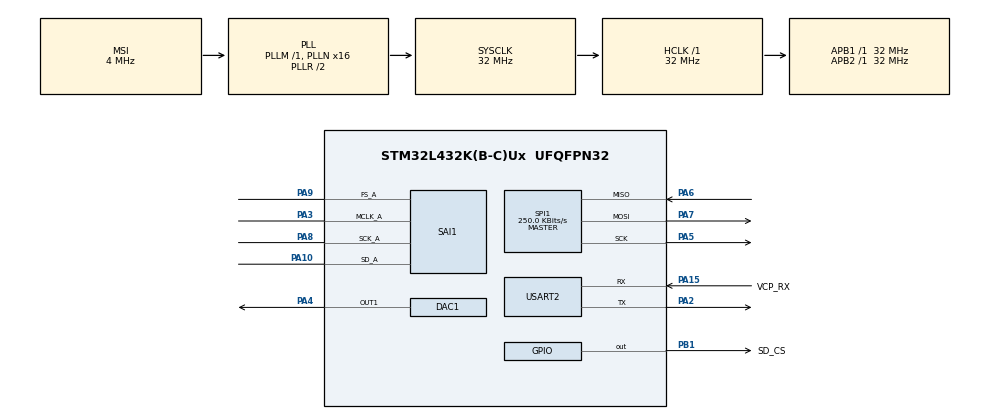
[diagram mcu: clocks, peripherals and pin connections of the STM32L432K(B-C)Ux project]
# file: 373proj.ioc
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DAC1.DAC_Trigger-DAC_OUT1=DAC_TRIGGER_T6_TRGO
Dma.DAC_CH1.1.Direction=DMA_MEMORY_TO_PERIPH
Dma.DAC_CH1.1.Instance=DMA1_Channel3
Dma.DAC_CH1.1.MemDataAlignment=DMA_MDATAALIGN_HALFWORD
Dma.DAC_CH1.1.MemInc=DMA_MINC_ENABLE
Dma.DAC_CH1.1.Mode=DMA_CIRCULAR
Dma.DAC_CH1.1.PeriphDataAlignment=DMA_PDATAALIGN_HALFWORD
Dma.DAC_CH1.1.PeriphInc=DMA_PINC_DISABLE
Dma.DAC_CH1.1.Priority=DMA_PRIORITY_LOW
Dma.Request0=SAI1_A
Dma.Request1=DAC_CH1
Dma.SAI1_A.0.Direction=DMA_PERIPH_TO_MEMORY
Dma.SAI1_A.0.Instance=DMA2_Channel1
Dma.SAI1_A.0.MemDataAlignment=DMA_MDATAALIGN_HALFWORD
Dma.SAI1_A.0.MemInc=DMA_MINC_ENABLE
Dma.SAI1_A.0.Mode=DMA_NORMAL
Dma.SAI1_A.0.PeriphDataAlignment=DMA_PDATAALIGN_HALFWORD
Dma.SAI1_A.0.PeriphInc=DMA_PINC_DISABLE
Dma.SAI1_A.0.Priority=DMA_PRIORITY_LOW
Mcu.Family=STM32L4
Mcu.Name=STM32L432K(B-C)Ux
Mcu.Package=UFQFPN32
NVIC.DMA1_Channel3_IRQn=true\:0\:0\:false\:false\:true\:false\:true\:true
NVIC.DMA2_Channel1_IRQn=true\:0\:0\:false\:false\:true\:false\:true\:true
NVIC.PriorityGroup=NVIC_PRIORITYGROUP_4
NVIC.TIM6_DAC_IRQn=true\:0\:0\:false\:false\:true\:true\:true\:true
PA0.GPIO_Label=MCO [High speed clock in]
PA0.Signal=RCC_CK_IN
PA10.Mode=SAI_A_MasterWithClock
PA10.Signal=SAI1_SD_A
PA13\ (JTMS-SWDIO).GPIO_Label=SWDIO
PA13\ (JTMS-SWDIO).Signal=SYS_JTMS-SWDIO
PA14\ (JTCK-SWCLK).GPIO_Label=SWCLK
PA14\ (JTCK-SWCLK).Signal=SYS_JTCK-SWCLK
PA15\ (JTDI).GPIO_Label=VCP_RX
PA15\ (JTDI).Mode=Asynchronous
PA15\ (JTDI).Signal=USART2_RX
PA2.Mode=Asynchronous
PA2.Signal=USART2_TX
PA3.Mode=SAI_A_MasterWithClock
PA3.Signal=SAI1_MCLK_A
PA4.Signal=COMP_DAC11_group
PA5.GPIO_PuPd=GPIO_PULLUP
PA5.Mode=Full_Duplex_Master
PA5.Signal=SPI1_SCK
PA6.GPIO_PuPd=GPIO_PULLUP
PA6.Mode=Full_Duplex_Master
PA6.Signal=SPI1_MISO
PA7.GPIO_PuPd=GPIO_PULLUP
PA7.Mode=Full_Duplex_Master
PA7.Signal=SPI1_MOSI
PA8.Mode=SAI_A_MasterWithClock
PA8.Signal=SAI1_SCK_A
PA9.Mode=SAI_A_MasterWithClock
PA9.Signal=SAI1_FS_A
PB1.GPIO_Label=SD_CS
PB1.GPIO_PuPd=GPIO_PULLUP
PB1.PinState=GPIO_PIN_SET
PB1.Signal=GPIO_Output
PC14-OSC32_IN\ (PC14).Signal=RCC_OSC32_IN
PC15-OSC32_OUT\ (PC15).Signal=RCC_OSC32_OUT
ProjectManager.HeapSize=0x200
ProjectManager.StackSize=0x400
ProjectManager.TargetToolchain=STM32CubeIDE
RCC.ADCFreq_Value=32000000
RCC.AHBFreq_Value=32000000
RCC.APB1Freq_Value=32000000
RCC.APB1TimFreq_Value=32000000
RCC.APB2Freq_Value=32000000
RCC.APB2TimFreq_Value=32000000
RCC.CortexFreq_Value=32000000
RCC.HCLKFreq_Value=32000000
RCC.HSE_VALUE=8000000
RCC.HSI16_VALUE=16000000
RCC.HSI48_VALUE=48000000
RCC.HSI_VALUE=16000000
RCC.LSE_VALUE=32768
RCC.MSI_VALUE=4000000
RCC.PLLMUL=RCC_PLLMUL_4
RCC.PLLN=16
RCC.PLLSAI1N=16
RCC.SYSCLKFreq_VALUE=32000000
RCC.SYSCLKSource=RCC_SYSCLKSOURCE_PLLCLK
RCC.USBFreq_Value=32000000
RCC.VCOOutputFreq_Value=64000000
SAI1.AudioFrequency-SAI_A_MasterWithClock=SAI_AUDIO_FREQUENCY_16K
SAI1.AudioMode-SAI_A_MasterWithClock=SAI_MODEMASTER_RX
SAI1.ErrorAudioFreq-SAI_A_MasterWithClock=11.6 %
SAI1.InitProtocol-SAI_A_MasterWithClock=Enable
SAI1.Instance-SAI_A_MasterWithClock=SAI$Index_Block_A
SAI1.MClockEnable-SAI_A_MasterWithClock=SAI_MASTERCLOCK_ENABLE
SAI1.MonoStereoMode-SAI_A_MasterWithClock=SAI_MONOMODE
SAI1.RealAudioFreq-SAI_A_MasterWithClock=17.857 KHz
SAI1.VirtualMode-SAI_A_MasterWithClock=VM_MASTER
SAI1.VirtualProtocol-SAI_A_BASIC=VM_BASIC_PROTOCOL
SH.COMP_DAC11_group.0=DAC1_OUT1,DAC_OUT1
SPI1.BaudRatePrescaler=SPI_BAUDRATEPRESCALER_128
SPI1.CalculateBaudRate=250.0 KBits/s
SPI1.DataSize=SPI_DATASIZE_8BIT
SPI1.Direction=SPI_DIRECTION_2LINES
SPI1.Mode=SPI_MODE_MASTER
SPI1.VirtualType=VM_MASTER
TIM6.Period=1999
TIM6.TIM_MasterOutputTrigger=TIM_TRGO_UPDATE
USART2.VirtualMode-Asynchronous=VM_ASYNC
VP_FATFS_VS_Generic.Mode=User_defined
VP_SAI1_VP_$IpInstance_SAIA_SAI_BASIC.Mode=SAI_A_BASIC
VP_TIM6_VS_ClockSourceINT.Mode=Enable_Timer
board=NUCLEO-L432KC

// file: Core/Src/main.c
/* USER CODE BEGIN Header */
/**
  ******************************************************************************
  * @file           : main.c
  * @brief          : Main program body
  ******************************************************************************
  * @attention
  *
  * Copyright (c) 2026 STMicroelectronics.
  * All rights reserved.
  *
  * This software is licensed under terms that can be found in the LICENSE file
  * in the root directory of this software component.
  * If no LICENSE file comes with this software, it is provided AS-IS.
  *
  ******************************************************************************
  */
/* USER CODE END Header */
#include "main.h"
#include "fatfs.h"

/* USER CODE BEGIN Includes */
#include <stdio.h>
#include <string.h>
#include <stdarg.h>
/* USER CODE END Includes */

DAC_HandleTypeDef hdac1;
DMA_HandleTypeDef hdma_dac_ch1;

SAI_HandleTypeDef hsai_BlockA1;
DMA_HandleTypeDef hdma_sai1_a;

SPI_HandleTypeDef hspi1;

TIM_HandleTypeDef htim6;

UART_HandleTypeDef huart2;

/* USER CODE BEGIN PV */
void myprintf(const char *fmt, ...);

/* USER CODE END PV */

void SystemClock_Config(void);
static void MX_GPIO_Init(void);
static void MX_DMA_Init(void);
static void MX_SAI1_Init(void);
static void MX_DAC1_Init(void);
static void MX_TIM6_Init(void);
static void MX_SPI1_Init(void);
static void MX_USART2_UART_Init(void);

/* USER CODE BEGIN 0 */

void myprintf(const char *fmt, ...) {
  static char buffer[256];
  va_list args;
  va_start(args, fmt);
  vsnprintf(buffer, sizeof(buffer), fmt, args);
  va_end(args);

  int len = strlen(buffer);
  HAL_UART_Transmit(&huart2, (uint8_t*)buffer, len, -1);

}

#define BUF_SIZE 8000

uint16_t audio_buf[BUF_SIZE];
uint16_t dac_buf[BUF_SIZE];
int recording = 1;

void HAL_SAI_RxCpltCallback(SAI_HandleTypeDef* hsai)
{
    if(recording == 1)
    {
        recording = 0;
        HAL_SAI_DMAStop(hsai);

        for(int i = 0; i < BUF_SIZE; i++)
        {
            int16_t sample = (int16_t)audio_buf[i];
            dac_buf[i] = (uint16_t)((sample + 32768) >> 4);
        }

        HAL_DAC_Start_DMA(&hdac1, DAC_CHANNEL_1,
                          (uint32_t*)dac_buf, BUF_SIZE,
                          DAC_ALIGN_12B_R);
        HAL_TIM_Base_Start(&htim6);
    }
}
/* USER CODE END 0 */

int main(void)
{

  /* MCU Configuration--------------------------------------------------------*/

  /* Reset of all peripherals, Initializes the Flash interface and the Systick. */
  HAL_Init();

  /* Configure the system clock */
  SystemClock_Config();

  /* Initialize all configured peripherals */
  MX_GPIO_Init();
  MX_DMA_Init();
  MX_SAI1_Init();
  MX_DAC1_Init();
  MX_TIM6_Init();
  MX_FATFS_Init();
  MX_SPI1_Init();
  MX_USART2_UART_Init();
  /* USER CODE BEGIN 2 */
  // Create and write test.txt
  myprintf("###TESTING SD###\r\n");
  HAL_Delay(1000);

  FATFS FatFs;
  FIL fil;
  FRESULT fres;

  // Mount the SD card first!
  fres = f_mount(&FatFs, "", 1);
  if(fres != FR_OK) {
      myprintf("mount error (%i)\r\n", fres);
      while(1);
  }
  myprintf("Mounted!\r\n");

  fres = f_open(&fil, "test.txt", FA_WRITE | FA_CREATE_ALWAYS);
  if(fres == FR_OK) {
      myprintf("Created test.txt for writing\r\n");
  } else {
      myprintf("f_open write error (%i)\r\n", fres);
      while(1);
  }

  UINT bytesWrote;
  char writeData[] = "Hello World on the SD Cards!";
  fres = f_write(&fil, writeData, strlen(writeData), &bytesWrote);
  if(fres == FR_OK) {
      myprintf("Wrote %i bytes\r\n", bytesWrote);
  } else {
      myprintf("f_write error (%i)\r\n", fres);
  }
  f_close(&fil);

  // Now read it back
  fres = f_open(&fil, "test.txt", FA_READ);
  if(fres == FR_OK) {
      myprintf("Opened test.txt for reading\r\n");
  } else {
      myprintf("f_open read error (%i)\r\n", fres);
      while(1);
  }

  BYTE readBuf[30];
  TCHAR* rres = f_gets((TCHAR*)readBuf, 30, &fil);
  if(rres != 0) {
      myprintf("Read back: %s\r\n", readBuf);
  } else {
      myprintf("f_gets error\r\n");
  }
  f_close(&fil);
  HAL_SAI_Receive_DMA(&hsai_BlockA1, (uint8_t*)audio_buf, BUF_SIZE * 2);

  /* USER CODE END 2 */

  /* Infinite loop */
  while (1)
  {

  }
}

void SystemClock_Config(void)
{
  RCC_OscInitTypeDef RCC_OscInitStruct = {0};
  RCC_ClkInitTypeDef RCC_ClkInitStruct = {0};

  /** Configure the main internal regulator output voltage
  */
  if (HAL_PWREx_ControlVoltageScaling(PWR_REGULATOR_VOLTAGE_SCALE1) != HAL_OK)
  {
    Error_Handler();
  }

  /** Initializes the RCC Oscillators according to the specified parameters
  * in the RCC_OscInitTypeDef structure.
  */
  RCC_OscInitStruct.OscillatorType = RCC_OSCILLATORTYPE_MSI;
  RCC_OscInitStruct.MSIState = RCC_MSI_ON;
  RCC_OscInitStruct.MSICalibrationValue = 0;
  RCC_OscInitStruct.MSIClockRange = RCC_MSIRANGE_6;
  RCC_OscInitStruct.PLL.PLLState = RCC_PLL_ON;
  RCC_OscInitStruct.PLL.PLLSource = RCC_PLLSOURCE_MSI;
  RCC_OscInitStruct.PLL.PLLM = 1;
  RCC_OscInitStruct.PLL.PLLN = 16;
  RCC_OscInitStruct.PLL.PLLP = RCC_PLLP_DIV7;
  RCC_OscInitStruct.PLL.PLLQ = RCC_PLLQ_DIV2;
  RCC_OscInitStruct.PLL.PLLR = RCC_PLLR_DIV2;
  if (HAL_RCC_OscConfig(&RCC_OscInitStruct) != HAL_OK)
  {
    Error_Handler();
  }

  /** Initializes the CPU, AHB and APB buses clocks
  */
  RCC_ClkInitStruct.ClockType = RCC_CLOCKTYPE_HCLK|RCC_CLOCKTYPE_SYSCLK
                              |RCC_CLOCKTYPE_PCLK1|RCC_CLOCKTYPE_PCLK2;
  RCC_ClkInitStruct.SYSCLKSource = RCC_SYSCLKSOURCE_PLLCLK;
  RCC_ClkInitStruct.AHBCLKDivider = RCC_SYSCLK_DIV1;
  RCC_ClkInitStruct.APB1CLKDivider = RCC_HCLK_DIV1;
  RCC_ClkInitStruct.APB2CLKDivider = RCC_HCLK_DIV1;

  if (HAL_RCC_ClockConfig(&RCC_ClkInitStruct, FLASH_LATENCY_1) != HAL_OK)
  {
    Error_Handler();
  }
}

static void MX_DAC1_Init(void)
{

  DAC_ChannelConfTypeDef sConfig = {0};

  /** DAC Initialization
  */
  hdac1.Instance = DAC1;
  if (HAL_DAC_Init(&hdac1) != HAL_OK)
  {
    Error_Handler();
  }

  /** DAC channel OUT1 config
  */
  sConfig.DAC_SampleAndHold = DAC_SAMPLEANDHOLD_DISABLE;
  sConfig.DAC_Trigger = DAC_TRIGGER_T6_TRGO;
  sConfig.DAC_OutputBuffer = DAC_OUTPUTBUFFER_ENABLE;
  sConfig.DAC_ConnectOnChipPeripheral = DAC_CHIPCONNECT_DISABLE;
  sConfig.DAC_UserTrimming = DAC_TRIMMING_FACTORY;
  if (HAL_DAC_ConfigChannel(&hdac1, &sConfig, DAC_CHANNEL_1) != HAL_OK)
  {
    Error_Handler();
  }

}

static void MX_SAI1_Init(void)
{

  hsai_BlockA1.Instance = SAI1_Block_A;
  hsai_BlockA1.Init.AudioMode = SAI_MODEMASTER_RX;
  hsai_BlockA1.Init.Synchro = SAI_ASYNCHRONOUS;
  hsai_BlockA1.Init.OutputDrive = SAI_OUTPUTDRIVE_DISABLE;
  hsai_BlockA1.Init.NoDivider = SAI_MASTERDIVIDER_ENABLE;
  hsai_BlockA1.Init.FIFOThreshold = SAI_FIFOTHRESHOLD_EMPTY;
  hsai_BlockA1.Init.AudioFrequency = SAI_AUDIO_FREQUENCY_16K;
  hsai_BlockA1.Init.SynchroExt = SAI_SYNCEXT_DISABLE;
  hsai_BlockA1.Init.MonoStereoMode = SAI_MONOMODE;
  hsai_BlockA1.Init.CompandingMode = SAI_NOCOMPANDING;
  if (HAL_SAI_InitProtocol(&hsai_BlockA1, SAI_I2S_STANDARD, SAI_PROTOCOL_DATASIZE_16BIT, 2) != HAL_OK)
  {
    Error_Handler();
  }

}

static void MX_SPI1_Init(void)
{

  /* SPI1 parameter configuration*/
  hspi1.Instance = SPI1;
  hspi1.Init.Mode = SPI_MODE_MASTER;
  hspi1.Init.Direction = SPI_DIRECTION_2LINES;
  hspi1.Init.DataSize = SPI_DATASIZE_8BIT;
  hspi1.Init.CLKPolarity = SPI_POLARITY_LOW;
  hspi1.Init.CLKPhase = SPI_PHASE_1EDGE;
  hspi1.Init.NSS = SPI_NSS_SOFT;
  hspi1.Init.BaudRatePrescaler = SPI_BAUDRATEPRESCALER_128;
  hspi1.Init.FirstBit = SPI_FIRSTBIT_MSB;
  hspi1.Init.TIMode = SPI_TIMODE_DISABLE;
  hspi1.Init.CRCCalculation = SPI_CRCCALCULATION_DISABLE;
  hspi1.Init.CRCPolynomial = 7;
  hspi1.Init.CRCLength = SPI_CRC_LENGTH_DATASIZE;
  hspi1.Init.NSSPMode = SPI_NSS_PULSE_DISABLE;
  if (HAL_SPI_Init(&hspi1) != HAL_OK)
  {
    Error_Handler();
  }

}

static void MX_TIM6_Init(void)
{

  TIM_MasterConfigTypeDef sMasterConfig = {0};

  htim6.Instance = TIM6;
  htim6.Init.Prescaler = 0;
  htim6.Init.CounterMode = TIM_COUNTERMODE_UP;
  htim6.Init.Period = 1999;
  htim6.Init.AutoReloadPreload = TIM_AUTORELOAD_PRELOAD_DISABLE;
  if (HAL_TIM_Base_Init(&htim6) != HAL_OK)
  {
    Error_Handler();
  }
  sMasterConfig.MasterOutputTrigger = TIM_TRGO_UPDATE;
  sMasterConfig.MasterSlaveMode = TIM_MASTERSLAVEMODE_DISABLE;
  if (HAL_TIMEx_MasterConfigSynchronization(&htim6, &sMasterConfig) != HAL_OK)
  {
    Error_Handler();
  }

}

static void MX_USART2_UART_Init(void)
{

  huart2.Instance = USART2;
  huart2.Init.BaudRate = 115200;
  huart2.Init.WordLength = UART_WORDLENGTH_8B;
  huart2.Init.StopBits = UART_STOPBITS_1;
  huart2.Init.Parity = UART_PARITY_NONE;
  huart2.Init.Mode = UART_MODE_TX_RX;
  huart2.Init.HwFlowCtl = UART_HWCONTROL_NONE;
  huart2.Init.OverSampling = UART_OVERSAMPLING_16;
  huart2.Init.OneBitSampling = UART_ONE_BIT_SAMPLE_DISABLE;
  huart2.AdvancedInit.AdvFeatureInit = UART_ADVFEATURE_NO_INIT;
  if (HAL_UART_Init(&huart2) != HAL_OK)
  {
    Error_Handler();
  }

}

static void MX_DMA_Init(void)
{

  /* DMA controller clock enable */
  __HAL_RCC_DMA2_CLK_ENABLE();
  __HAL_RCC_DMA1_CLK_ENABLE();

  /* DMA interrupt init */
  /* DMA1_Channel3_IRQn interrupt configuration */
  HAL_NVIC_SetPriority(DMA1_Channel3_IRQn, 0, 0);
  HAL_NVIC_EnableIRQ(DMA1_Channel3_IRQn);
  /* DMA2_Channel1_IRQn interrupt configuration */
  HAL_NVIC_SetPriority(DMA2_Channel1_IRQn, 0, 0);
  HAL_NVIC_EnableIRQ(DMA2_Channel1_IRQn);

}

static void MX_GPIO_Init(void)
{
  GPIO_InitTypeDef GPIO_InitStruct = {0};

  /* GPIO Ports Clock Enable */
  __HAL_RCC_GPIOC_CLK_ENABLE();
  __HAL_RCC_GPIOA_CLK_ENABLE();
  __HAL_RCC_GPIOB_CLK_ENABLE();

  /*Configure GPIO pin Output Level */
  HAL_GPIO_WritePin(SD_CS_GPIO_Port, SD_CS_Pin, GPIO_PIN_SET);

  /*Configure GPIO pin : SD_CS_Pin */
  GPIO_InitStruct.Pin = SD_CS_Pin;
  GPIO_InitStruct.Mode = GPIO_MODE_OUTPUT_PP;
  GPIO_InitStruct.Pull = GPIO_PULLUP;
  GPIO_InitStruct.Speed = GPIO_SPEED_FREQ_LOW;
  HAL_GPIO_Init(SD_CS_GPIO_Port, &GPIO_InitStruct);

}

void Error_Handler(void)
{
  __disable_irq();
  while (1)
  {
  }
}
